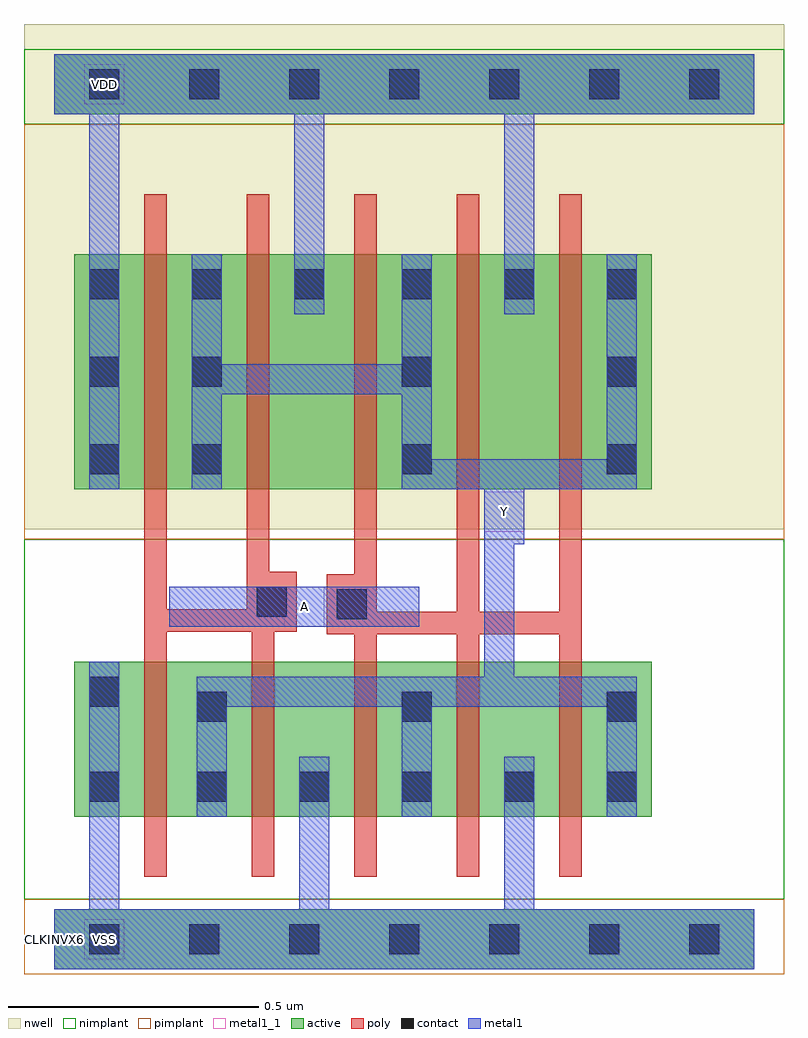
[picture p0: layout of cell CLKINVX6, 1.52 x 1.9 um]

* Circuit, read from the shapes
.subckt CLKINVX6 A VDD VSS Y
M1 Y A VSS VSS nfet w=0.31u l=0.045u m=5
M2 Y A VDD VDD pfet w=0.47u l=0.045u m=5
.ends

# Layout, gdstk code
import gdstk
lib = gdstk.Library(unit=1e-6, precision=5e-10)
def R(c, l, rs):  # rectangles x0, y0, x1, y1
    for r in rs: c.add(gdstk.rectangle(r[:2], r[2:], *l))
def A(c, l, x, y, w, h, nx, ny, dx, dy):  # array of equal rectangles
    R(c, l, [(x+i*dx, y+j*dy, x+i*dx+w, y+j*dy+h) for i in range(nx) for j in range(ny)])
def P(c, l, *ps):  # polygons
    for p in ps: c.add(gdstk.Polygon(p, *l))
active = (1, 0)
nwell = (2, 0)
poly = (3, 0)
nimplant = (4, 0)
pimplant = (5, 0)
contact = (6, 0)
metal1 = (7, 0)
metal1_1 = (7, 1)

clkinvx6 = lib.new_cell('CLKINVX6')
R(clkinvx6, active, [(0,-0.06,1.4,0.06), (0.04,0.245,1.195,0.555), (0.04,0.9,1.195,1.37), (0,1.65,1.4,1.77)])
R(clkinvx6, nwell, [(-0.06,0.82,1.46,1.83)])
P(clkinvx6, poly, [(0.18,1.49),(0.225,1.49),(0.225,0.66),(0.385,0.66),(0.385,1.49),(0.43,1.49),(0.43,0.735),(0.485,0.735),(0.485,0.615),(0.44,0.615),(0.44,0.125),(0.395,0.125),(0.395,0.615),(0.225,0.615),(0.225,0.125),(0.18,0.125)],
  [(0.6,1.49),(0.645,1.49),(0.645,0.655),(0.805,0.655),(0.805,1.49),(0.85,1.49),(0.85,0.655),(1.01,0.655),(1.01,1.49),(1.055,1.49),(1.055,0.125),(1.01,0.125),(1.01,0.61),(0.85,0.61),(0.85,0.125),(0.805,0.125),(0.805,0.61),(0.645,0.61),(0.645,0.125),(0.6,0.125),(0.6,0.61),(0.545,0.61),(0.545,0.73),(0.6,0.73)])
R(clkinvx6, nimplant, [(-0.06,0.08,1.46,0.8), (-0.06,1.63,1.46,1.78)])
R(clkinvx6, pimplant, [(-0.06,-0.07,1.46,0.08), (-0.06,0.8,1.46,1.63)])
A(clkinvx6, contact, 0.07, -0.03, 0.06, 0.06, 7, 2, 0.2, 1.71)
A(clkinvx6, contact, 0.285, 0.275, 0.06, 0.06, 5, 1, 0.205, 0)
A(clkinvx6, contact, 0.285, 0.435, 0.06, 0.06, 3, 1, 0.41, 0)
A(clkinvx6, contact, 0.07, 1.28, 0.06, 0.06, 3, 1, 0.205, 0)
A(clkinvx6, contact, 0.695, 1.28, 0.06, 0.06, 3, 1, 0.205, 0)
R(clkinvx6, contact, [(0.07,0.275,0.13,0.335), (0.07,0.465,0.13,0.525), (0.565,0.64,0.625,0.7), (0.405,0.645,0.465,0.705), (0.07,0.93,0.13,0.99), (0.275,0.93,0.335,0.99), (0.695,0.93,0.755,0.99), (1.105,0.93,1.165,0.99), (0.07,1.105,0.13,1.165), (0.275,1.105,0.335,1.165), (0.695,1.105,0.755,1.165), (1.105,1.105,1.165,1.165)])
R(clkinvx6, metal1, [(0.23,0.625,0.73,0.705)])
P(clkinvx6, metal1, [(0.07,0.555),(0.13,0.555),(0.13,0.06),(0.49,0.06),(0.49,0.365),(0.55,0.365),(0.55,0.06),(0.9,0.06),(0.9,0.365),(0.96,0.365),(0.96,0.06),(1.4,0.06),(1.4,-0.06),(0,-0.06),(0,0.06),(0.07,0.06)],
  [(0,1.77),(1.4,1.77),(1.4,1.65),(0.96,1.65),(0.96,1.25),(0.9,1.25),(0.9,1.65),(0.54,1.65),(0.54,1.25),(0.48,1.25),(0.48,1.65),(0.13,1.65),(0.13,0.9),(0.07,0.9),(0.07,1.65),(0,1.65)],
  [(0.275,1.37),(0.335,1.37),(0.335,1.15),(0.695,1.15),(0.695,1.37),(0.755,1.37),(0.755,0.96),(1.105,0.96),(1.105,1.37),(1.165,1.37),(1.165,0.9),(0.94,0.9),(0.94,0.79),(0.92,0.79),(0.92,0.525),(1.165,0.525),(1.165,0.245),(1.105,0.245),(1.105,0.465),(0.755,0.465),(0.755,0.245),(0.695,0.245),(0.695,0.465),(0.345,0.465),(0.345,0.245),(0.285,0.245),(0.285,0.525),(0.86,0.525),(0.86,0.9),(0.695,0.9),(0.695,1.09),(0.335,1.09),(0.335,0.9),(0.275,0.9)])
R(clkinvx6, metal1_1, [(0.06,-0.04,0.14,0.04), (0.46,0.625,0.54,0.705), (0.86,0.815,0.94,0.895), (0.06,1.67,0.14,1.75)])
clkinvx6.add(gdstk.Label('Y', (0.9,0.855), layer=7, texttype=1))
clkinvx6.add(gdstk.Label('A', (0.5,0.665), layer=7, texttype=1))
clkinvx6.add(gdstk.Label('VDD', (0.1,1.71), layer=7, texttype=1))
clkinvx6.add(gdstk.Label('VSS', (0.1,0), layer=7, texttype=1))
clkinvx6.add(gdstk.Label('CLKINVX6', (0,0), layer=63, texttype=0))

lib.write_gds('CLKINVX6.gds')
